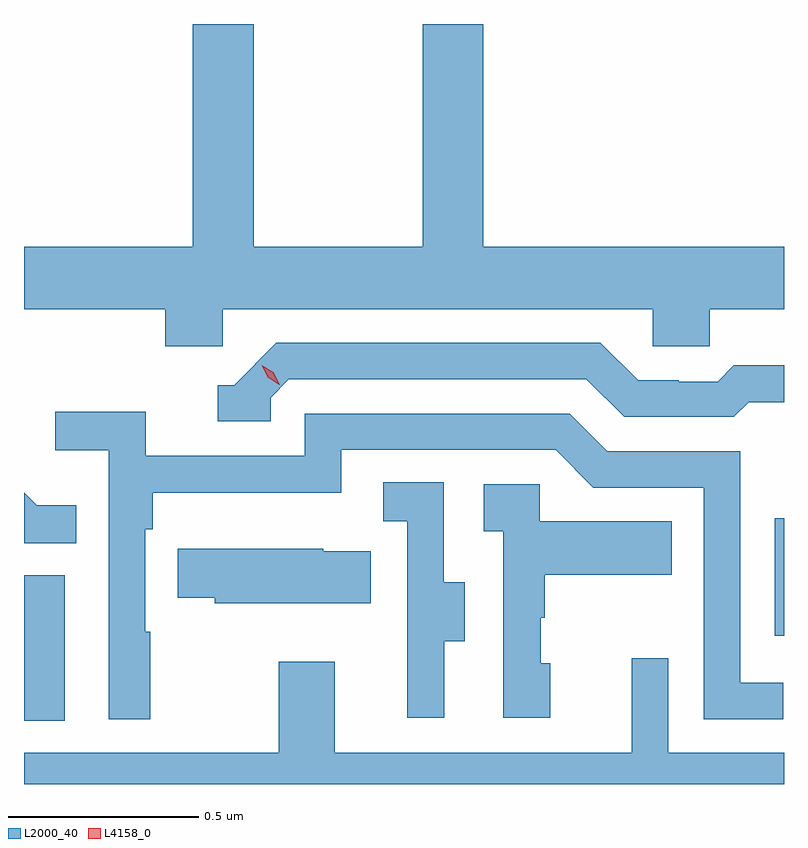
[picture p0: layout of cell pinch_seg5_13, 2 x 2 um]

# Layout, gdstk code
import gdstk
lib = gdstk.Library(unit=1e-6, precision=1e-09)
def R(c, l, rs):  # rectangles x0, y0, x1, y1
    for r in rs: c.add(gdstk.rectangle(r[:2], r[2:], *l))
def P(c, l, *ps):  # polygons
    for p in ps: c.add(gdstk.Polygon(p, *l))
L2000_40 = (2000, 40)
L4158_0 = (4158, 0)

pinch_seg5_13 = lib.new_cell('pinch_seg5_13')
R(pinch_seg5_13, L2000_40, [(1142.399,896.969,1142.506,897.351), (1144.374,897.192,1144.399,897.502)])
P(pinch_seg5_13, L2000_40, [(1142.922,898.052),(1144.053,898.052),(1144.053,897.954),(1144.203,897.954),(1144.203,898.052),(1144.399,898.052),(1144.399,898.216),(1143.608,898.216),(1143.608,898.802),(1143.448,898.802),(1143.448,898.216),(1143.003,898.216),(1143.003,898.802),(1142.843,898.802),(1142.843,898.216),(1142.399,898.216),(1142.399,898.052),(1142.771,898.052),(1142.771,897.954),(1142.922,897.954)],
  [(1143.048,897.819),(1143.096,897.867),(1143.879,897.867),(1143.978,897.768),(1144.267,897.768),(1144.306,897.807),(1144.399,897.807),(1144.399,897.904),(1144.267,897.904),(1144.225,897.861),(1144.122,897.861),(1144.122,897.864),(1144.015,897.864),(1143.916,897.963),(1143.063,897.963),(1142.952,897.852),(1142.909,897.852),(1142.909,897.756),(1143.048,897.756)],
  [(1142.731,897.203),(1142.718,897.203),(1142.718,897.473),(1142.738,897.473),(1142.738,897.569),(1143.234,897.569),(1143.234,897.681),(1143.798,897.681),(1143.897,897.582),(1144.188,897.582),(1144.188,896.973),(1144.397,896.973),(1144.397,897.069),(1144.284,897.069),(1144.284,897.678),(1143.934,897.678),(1143.835,897.777),(1143.138,897.777),(1143.138,897.666),(1142.72,897.666),(1142.72,897.782),(1142.481,897.782),(1142.481,897.68),(1142.622,897.68),(1142.622,896.973),(1142.731,896.973)],
  [(1143.505,897.178),(1143.559,897.178),(1143.559,897.333),(1143.504,897.333),(1143.504,897.596),(1143.345,897.596),(1143.345,897.493),(1143.408,897.493),(1143.408,897.189),(1143.407,897.189),(1143.407,896.976),(1143.505,896.976)],
  [(1143.784,897.12),(1143.759,897.12),(1143.759,897.239),(1143.769,897.239),(1143.769,897.353),(1144.103,897.353),(1144.103,897.493),(1143.756,897.493),(1143.756,897.591),(1143.609,897.591),(1143.609,897.467),(1143.66,897.467),(1143.66,896.976),(1143.784,896.976)],
  [(1142.537,897.535),(1142.433,897.535),(1142.399,897.569),(1142.399,897.436),(1142.537,897.436)],
  [(1143.311,897.415),(1143.186,897.415),(1143.186,897.421),(1142.803,897.421),(1142.803,897.292),(1142.901,897.292),(1142.901,897.278),(1143.311,897.278)],
  [(1144.399,896.884),(1144.095,896.884),(1144.095,897.133),(1143.998,897.133),(1143.998,896.884),(1143.217,896.884),(1143.217,897.124),(1143.07,897.124),(1143.07,896.884),(1142.399,896.884),(1142.399,896.802),(1144.399,896.802)])
P(pinch_seg5_13, L4158_0, [(1143.071,897.853),(1143.04,897.872),(1143.024,897.904),(1143.024,897.904),(1143.024,897.904),(1143.055,897.885),(1143.072,897.853),(1143.072,897.853)])

lib.write_gds('pinch_seg5_13.gds')
